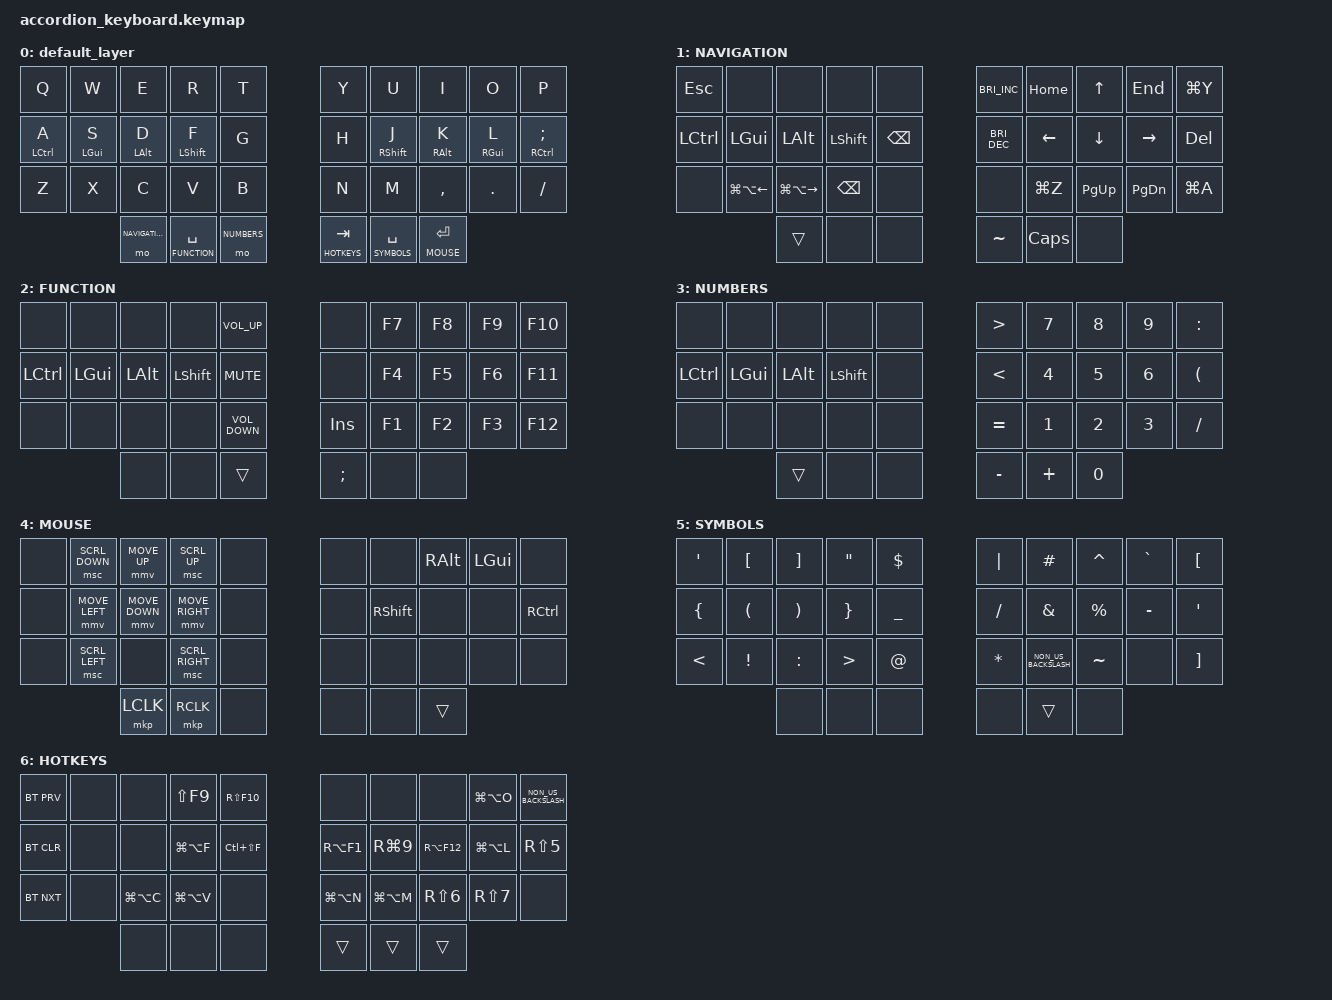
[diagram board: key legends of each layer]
#include <behaviors.dtsi>
#include <dt-bindings/zmk/keys.h>
#include <dt-bindings/zmk/bt.h>
#include <dt-bindings/zmk/mouse.h>
#include "boards/shields/accordion_keyboard/mouse.dtsi"

//  ##########################################################
//  ###########        WORKING 2023/07/1       ###############
//  ##########################################################
// #############         LAYERS         #################

#define SYM_L   1
#define NAV_L   2
#define NAV2_L  3

//#define OTHER_L 4

#define DEFAULT 0
#define NAVIGATION   1
#define FUNCTION   2
#define NUMBERS  3
#define MOUSE  4
#define SYMBOLS 5
#define HOTKEYS  6

// Desktop and tab navigation shortcuts		

#define DESKTOP_LT   LC(LG(LEFT))
#define DESKTOP_RT   LC(LG(RIGHT))
#define WINDOW_LT    LA(LS(TAB))
#define WINDOW_RT    LA(TAB)
#define TAB_LT       LC(LS(TAB))
#define TAB_RT       LC(TAB)

// NOT USED  &kp LG(LC(LEFT))  &kp LG(LC(RIGHT))
// Generic bindings

#define KILL_WINDOW  LA(F4)
#define MAXIMIZE     LG(UP)
#define MINIMIZE     LG(DOWN)
#define UN_MINIMIZE  LG(LC(N))

&mt {
    flavor = "hold-preferred";
    tapping-term-ms = <500>;
};

&lt {
    flavor = "balanced";
    tapping-term-ms = <300>;
};

&sl { release-after-ms = <2000>; };

/ {
    conditional_layers { compatible = "zmk,conditional-layers"; };

    macros {
        ZMK_MACRO(inv_qm,

        wait-ms = <10>;
        tap-ms = <10>;
        bindings =
            <&macro_press &kp LALT>,
            <&macro_tap &kp KP_N1 &kp KP_N6 &kp KP_N8>,
            <&macro_release &kp LALT>;

        )
    };

    combos {
        compatible = "zmk,combos";

        combo_boot {
            timeout-ms = <50>;
            key-positions = <30 32 33 35>;
            bindings = <&bootloader>;
        };

    };

    behaviors {
        //   td_mt_ls: tap_dance_mod_tap {
        //       compatible = "zmk,behavior-tap-dance";
        //       label = "TAP_DANCE_LSHIFT";
        //       #binding-cells = <0>;
        //       tapping-term-ms = <200>;
        //       bindings = <&mt LSHIFT CAPSLOCK>, <&kp LCTRL>;
        //   };
        //   td_mt_rs: tap_dance_mod_tap {
        //       compatible = "zmk,behavior-tap-dance";
        //       label = "TAP_DANCE_RSHIFT";
        //       #binding-cells = <0>;
        //       tapping-term-ms = <200>;
        //       bindings = <&mt RSHIFT CAPSLOCK>, <&kp RCTRL>;
        //   };            
    };

    keymap {
        compatible = "zmk,keymap";

        default_layer {
            bindings = <
&kp Q        &kp W           &kp E           &kp R               &kp T              &kp Y             &kp U               &kp I            &kp O       &kp P
&mt LCTRL A  &mt LEFT_GUI S  &mt LEFT_ALT D  &mt LEFT_SHIFT F    &kp G              &kp H             &mt RSHFT J         &mt RALT K       &mt RGUI L  &mt RCTRL SEMICOLON
&kp Z        &kp X           &kp C           &kp V               &kp B              &kp N             &kp M               &kp COMMA        &kp PERIOD  &kp SLASH
                             &mo NAVIGATION  &lt FUNCTION SPACE  &mo NUMBERS        &lt HOTKEYS TAB   &lt SYMBOLS SPACE   &lt MOUSE ENTER
            >;
        };

        NAVIGATION {
            bindings = <
&kp ESC             &none             &none              &none            &none                 &kp C_BRIGHTNESS_INC    &kp HOME   &kp UP       &kp END        &kp LG(Y)
&kp LEFT_CONTROL    &kp LGUI          &kp LALT           &kp LSHIFT       &kp BACKSPACE         &kp C_BRIGHTNESS_DEC    &kp LEFT   &kp DOWN     &kp RIGHT      &kp DELETE
&none               &kp LG(LA(LEFT))  &kp LG(LA(RIGHT))  &kp BACKSPACE    &none                 &none        &kp LG(Z)  &kp PAGE_UP  &kp PAGE_DOWN  &kp LG(A)
                                      &trans             &none            &none                 &kp TILDE        &kp CAPS   &none
            >;
        };

        FUNCTION {
            bindings = <
&none             &none     &none     &none       &kp C_VOLUME_UP         &none      &kp F7  &kp F8    &kp F9  &kp F10
&kp LEFT_CONTROL  &kp LGUI  &kp LALT  &kp LSHFT   &kp K_MUTE              &none      &kp F4  &kp F5    &kp F6  &kp F11
&none             &none     &none     &none       &kp C_VOLUME_DOWN       &kp INS    &kp F1  &kp F2    &kp F3  &kp F12
                            &none     &none       &trans                  &kp SEMI   &none   &none
            >;
        };

        NUMBERS {
            bindings = <
&none             &none     &none     &none      &none          &kp GREATER_THAN  &kp N7        &kp N8        &kp N9        &kp COLON
&kp LEFT_CONTROL  &kp LGUI  &kp LALT  &kp LSHFT  &none          &kp LESS_THAN     &kp NUMBER_4  &kp N5        &kp NUMBER_6  &kp LEFT_PARENTHESIS
&none             &none     &none     &none      &none          &kp EQUAL         &kp NUMBER_1  &kp NUMBER_2  &kp NUMBER_3  &kp SLASH
                            &trans    &none      &none          &kp MINUS         &kp PLUS      &kp N0
            >;
        };

        MOUSE {
            bindings = <
&none  &msc SCRL_DOWN  &mmv MOVE_UP     &msc SCRL_UP      &none           &none  &none       &kp RALT  &kp LGUI   &none
&none  &mmv MOVE_LEFT  &mmv MOVE_DOWN   &mmv MOVE_RIGHT   &none           &none  &kp RSHFT   &none     &none      &kp RCTRL
&none  &msc SCRL_LEFT  &none            &msc SCRL_RIGHT   &none           &none  &none       &none     &none      &none
                       &mkp LCLK        &mkp RCLK         &none           &none  &none       &trans
            >;
        };

        SYMBOLS {
            bindings = <
&kp SQT         &kp LEFT_BRACKET       &kp RIGHT_BRACKET      &kp DOUBLE_QUOTES  &kp DOLLAR             &kp PIPE      &kp HASH              &kp CARET     &kp GRAVE   &kp LEFT_BRACKET
&kp LEFT_BRACE  &kp LEFT_PARENTHESIS   &kp RIGHT_PARENTHESIS  &kp RIGHT_BRACE    &kp UNDERSCORE         &kp SLASH     &kp AMPERSAND         &kp PERCENT   &kp MINUS   &kp SQT
&kp LESS_THAN   &kp EXCLAMATION        &kp COLON              &kp GREATER_THAN   &kp AT_SIGN            &kp ASTERISK  &kp NON_US_BACKSLASH  &kp TILDE     &none       &kp RIGHT_BRACKET
                                       &none                  &none              &none                  &none         &trans                &none
            >;
        };

        HOTKEYS {
            bindings = <
&bt BT_PRV  &none  &none          &kp LS(F9)     &kp RS(F10)            &none          &none          &none             &kp LG(LA(O))  &kp NON_US_BACKSLASH
&bt BT_CLR  &none  &none          &kp LG(LA(F))  &kp LC(LS(F))          &kp RA(F1)     &kp RG(N9)     &kp RA(F12)       &kp LG(LA(L))  &kp RS(N5)
&bt BT_NXT  &none  &kp LG(LA(C))  &kp LG(LA(V))  &none                  &kp LG(LA(N))  &kp LG(LA(M))  &kp RS(NUMBER_6)  &kp RS(N7)     &none
                   &none          &none          &none                  &trans         &trans         &trans
            >;
        };
    };
};
